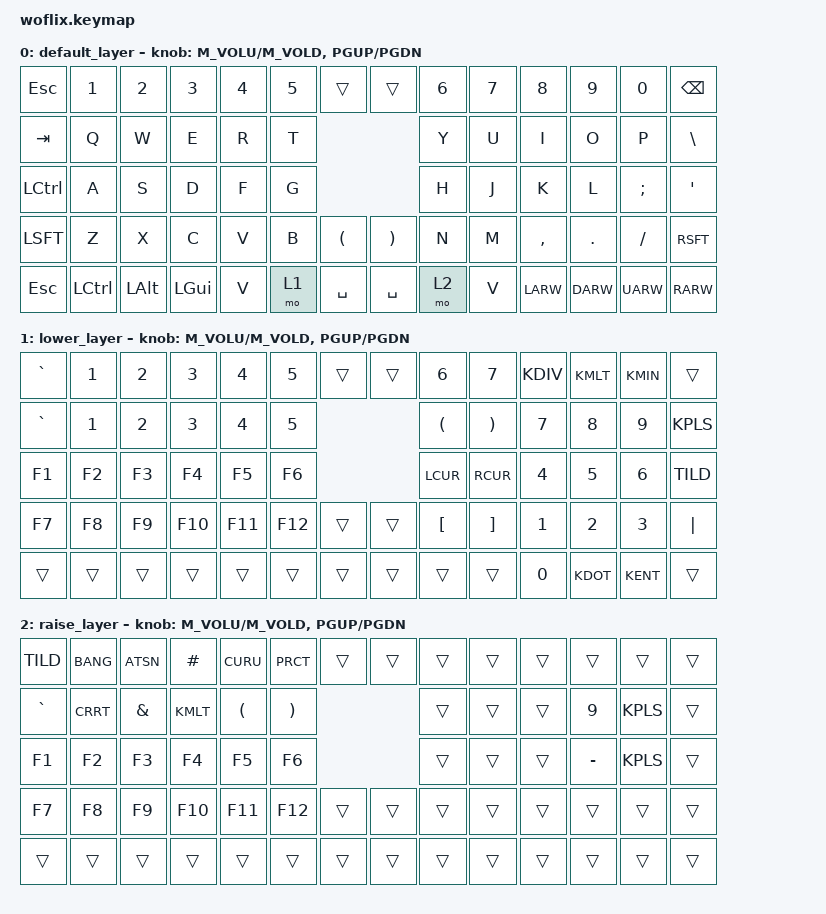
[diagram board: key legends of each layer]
#include <behaviors.dtsi>
#include <dt-bindings/zmk/keys.h>

/ {
	keymap {
		compatible = "zmk,keymap";

		default_layer {
// ------------------------------------------------------------------------------------------------------------
// |  ESC  |    1      |    2    |    3    |    4     |    5     |    ?   |  |   ?   |   6      |    7     |    8    |   9    |   0   | BSPCE |
// |  TAB  |    Q      |    W    |    E    |    R     |    T     |                   |   Y      |    U     |    I    |   O    |   P   |   \   |
// |  CTRL |    A      |    S    |    D    |    F     |    G     |                   |   H      |    J     |    K    |   L    |   ;   |   '   |
// | SHIFT |    Z      |    X    |    C    |    V     |    B     |   "("  |  |  ")"  |   N      |    M     |    ,    |   .    |   /   | SHIFT |
// |  ESC  |   CTRL    |   ALT   |   GUI   |   EISU   |  LOWER   |  SPACE |  | SPACE |  RAISE   |   EISU   |    ←    |   ↓    |   ↑   |   →   |
			bindings = <
&kp ESC      &kp NUM_1  &kp NUM_2 &kp NUM_3  &kp NUM_4  &kp NUM_5    &trans   &trans   &kp NUM_6  &kp NUM_7 &kp NUM_8 &kp NUM_9 &kp NUM_0 &kp BKSP
&kp TAB      &kp Q      &kp W     &kp E      &kp R      &kp T                          &kp Y      &kp U     &kp I     &kp O     &kp P     &kp BSLH
&kp LCTL     &kp A      &kp S     &kp D      &kp F      &kp G                          &kp H      &kp J     &kp K     &kp L     &kp SCLN  &kp QUOT
&kp LSFT     &kp Z      &kp X     &kp C      &kp V      &kp B      &kp LPRN  &kp RPRN  &kp N      &kp M     &kp CMMA  &kp DOT   &kp FSLH  &kp RSFT
&kp ESC      &kp LCTL   &kp LALT  &kp LGUI   &kp V      &mo 1      &kp SPC   &kp SPC   &mo 2      &kp V     &kp LARW  &kp DARW  &kp UARW  &kp RARW  
			>;

			sensor-bindings = <&inc_dec_cp M_VOLU M_VOLD &inc_dec_kp PGUP PGDN>;
		};

		lower_layer {
// ------------------------------------------------------------------------------------------------------------ 
// |  `  |     1    |    2    |    3     |   4    |   5    |     ?   |  |   ?    |     6    |    7    |   KP/  |   KP*   |   KP-   |         |
// |  `  |     1    |    2    |    3     |   4    |   5    |                     |     (    |    )    |   KP7  |   KP8   |   KP9   |   KP+   |
// | F1  |    F2    |   F3    |   F4     |  F5    |  F6    |                     |     {    |    }    |   KP4  |   KP5   |   KP6   |  KPENT  |
// | F7  |    F8    |   F9    |   F10    |  F11   |  F12   |         |  |        |     [    |    ]    |   KP1  |   KP2   |   KP3   |  KPENT  |
// |     |          |         |          |        |        |         |  |        |          |         |   KP0  |   KP.   |  KPENT  |         |
			bindings = <
&kp GRAV   &kp 1      &kp 2     &kp 3     &kp 4     &kp 5    &trans      &trans    &kp 6     &kp 7     &kp KDIV  &kp KMLT  &kp KMIN  &trans
&kp GRAV   &kp 1      &kp 2     &kp 3     &kp 4     &kp 5                          &kp LPRN  &kp RPRN  &kp NUM_7 &kp NUM_8 &kp NUM_9 &kp KPLS
&kp F1     &kp F2     &kp F3    &kp F4    &kp F5    &kp F6                         &kp LCUR  &kp RCUR  &kp NUM_4 &kp NUM_5 &kp NUM_6 &kp TILD
&kp F7     &kp F8     &kp F9    &kp F10   &kp F11   &kp F12  &trans      &trans    &kp LBKT  &kp RBKT  &kp NUM_1 &kp NUM_2 &kp NUM_3 &kp PIPE
&trans     &trans     &trans    &trans    &trans    &trans   &trans      &trans    &trans    &trans    &kp NUM_0 &kp KDOT  &kp KENT  &trans
			>;

			sensor-bindings = <&inc_dec_cp M_VOLU M_VOLD &inc_dec_kp PGUP PGDN>;
		};

		raise_layer {
// ------------------------------------------------------------------------------------------------------------
// |  ~  |    !    |    @    |   #    |    $     |   %     |     ?   |  |   ?    |         |         |         |         |         |       |
// |  ~  |    ^    |    &    |   *    |    (     |   )     |                     |         |         |         |    _    |    +    |       |
// |  F1 |    F2   |    F3   |   F4   |    F5    |   F6    |                     |         |         |         |    -    |    =    |       |
// |  F7 |    F8   |    F9   |   F10  |    F11   |   F12   |         |  |        |         |         |         |         |         |       |
// |     |         |         |        |          |         |         |  |        |         |         |         |         |         |       |
			bindings = <
&kp TILD  &kp BANG  &kp ATSN  &kp HASH  &kp CURU  &kp PRCT    &trans      &trans  &trans    &trans    &trans    &trans    &trans    &trans
&kp GRAV  &kp CRRT  &kp AMPS  &kp KMLT  &kp LPRN  &kp RPRN                        &trans    &trans    &trans    &kp NUM_9 &kp KPLS  &trans
&kp F1    &kp F2    &kp F3    &kp F4    &kp F5    &kp F6                          &trans    &trans    &trans    &kp MINUS &kp KPLS  &trans
&kp F7    &kp F8    &kp F9    &kp F10   &kp F11   &kp F12     &trans      &trans  &trans    &trans    &trans    &trans    &trans    &trans
&trans    &trans    &trans    &trans    &trans    &trans      &trans      &trans  &trans    &trans    &trans    &trans    &trans    &trans
			>; 

			sensor-bindings = <&inc_dec_cp M_VOLU M_VOLD &inc_dec_kp PGUP PGDN>;
		};
	};
};
